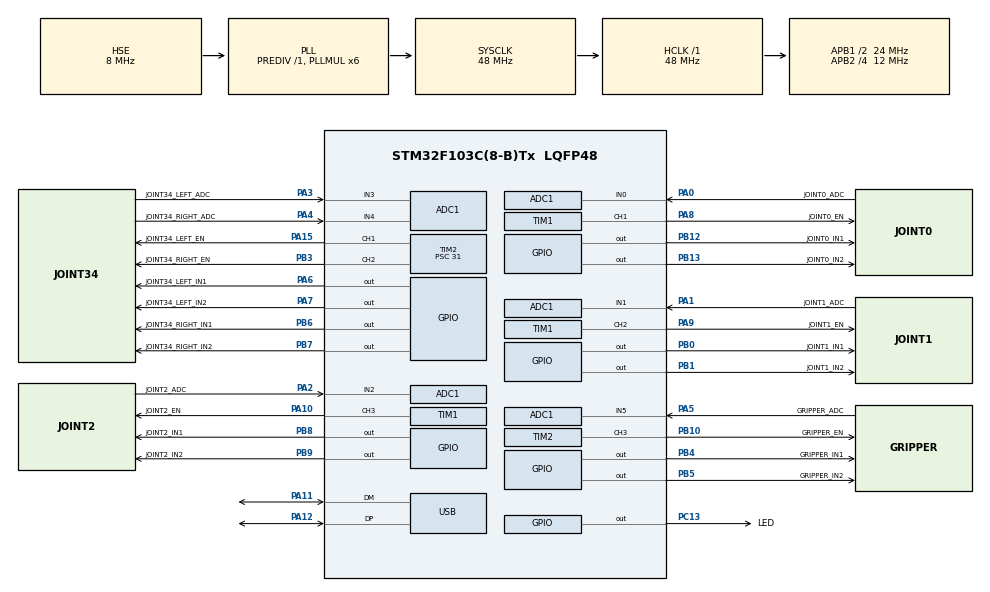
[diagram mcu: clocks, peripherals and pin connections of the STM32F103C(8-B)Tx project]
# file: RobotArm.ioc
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ADC1.Channel-4\#ChannelRegularConversion=ADC_CHANNEL_0
ADC1.Channel-5\#ChannelRegularConversion=ADC_CHANNEL_1
ADC1.Channel-6\#ChannelRegularConversion=ADC_CHANNEL_2
ADC1.Channel-7\#ChannelRegularConversion=ADC_CHANNEL_3
ADC1.Channel-8\#ChannelRegularConversion=ADC_CHANNEL_4
ADC1.Channel-9\#ChannelRegularConversion=ADC_CHANNEL_5
ADC1.ContinuousConvMode=ENABLE
ADC1.DataAlign=ADC_DATAALIGN_RIGHT
ADC1.DiscontinuousConvMode=DISABLE
ADC1.EnableAnalogWatchDog=false
ADC1.EnableRegularConversion=ENABLE
ADC1.ExternalTrigConv=ADC_SOFTWARE_START
ADC1.InjNumberOfConversion=0
ADC1.NbrOfConversion=6
ADC1.NbrOfConversionFlag=1
ADC1.Rank-4\#ChannelRegularConversion=1
ADC1.Rank-5\#ChannelRegularConversion=2
ADC1.Rank-6\#ChannelRegularConversion=3
ADC1.Rank-7\#ChannelRegularConversion=4
ADC1.Rank-8\#ChannelRegularConversion=5
ADC1.Rank-9\#ChannelRegularConversion=6
ADC1.SamplingTime-4\#ChannelRegularConversion=ADC_SAMPLETIME_7CYCLES_5
ADC1.SamplingTime-5\#ChannelRegularConversion=ADC_SAMPLETIME_7CYCLES_5
ADC1.SamplingTime-6\#ChannelRegularConversion=ADC_SAMPLETIME_7CYCLES_5
ADC1.SamplingTime-7\#ChannelRegularConversion=ADC_SAMPLETIME_7CYCLES_5
ADC1.SamplingTime-8\#ChannelRegularConversion=ADC_SAMPLETIME_7CYCLES_5
ADC1.SamplingTime-9\#ChannelRegularConversion=ADC_SAMPLETIME_7CYCLES_5
ADC1.ScanConvMode=ADC_SCAN_ENABLE
ADC1.master=1
Dma.ADC1.0.Direction=DMA_PERIPH_TO_MEMORY
Dma.ADC1.0.Instance=DMA1_Channel1
Dma.ADC1.0.MemDataAlignment=DMA_MDATAALIGN_WORD
Dma.ADC1.0.MemInc=DMA_MINC_ENABLE
Dma.ADC1.0.Mode=DMA_CIRCULAR
Dma.ADC1.0.PeriphDataAlignment=DMA_PDATAALIGN_WORD
Dma.ADC1.0.PeriphInc=DMA_PINC_DISABLE
Dma.ADC1.0.Priority=DMA_PRIORITY_LOW
Dma.Request0=ADC1
IWDG.Prescaler=IWDG_PRESCALER_32
IWDG.Reload=300
Mcu.Family=STM32F1
Mcu.Name=STM32F103C(8-B)Tx
Mcu.Package=LQFP48
NVIC.DMA1_Channel1_IRQn=true\:0\:0\:false\:false\:true
NVIC.PriorityGroup=NVIC_PRIORITYGROUP_4
NVIC.USB_LP_CAN1_RX0_IRQn=true\:0\:0\:false\:false\:true
PA0-WKUP.GPIO_Label=JOINT0_ADC
PA0-WKUP.Signal=SharedAnalog_PA0
PA1.GPIO_Label=JOINT1_ADC
PA1.Signal=ADCx_IN1
PA10.GPIO_Label=JOINT2_EN
PA10.Signal=S_TIM1_CH3
PA11.Mode=Device
PA11.Signal=USB_DM
PA12.Mode=Device
PA12.Signal=USB_DP
PA13.Mode=Serial_Wire
PA13.Signal=SYS_JTMS-SWDIO
PA14.Mode=Serial_Wire
PA14.Signal=SYS_JTCK-SWCLK
PA15.GPIO_Label=JOINT34_LEFT_EN
PA15.Signal=S_TIM2_CH1_ETR
PA2.GPIO_Label=JOINT2_ADC
PA2.Signal=ADCx_IN2
PA3.GPIO_Label=JOINT34_LEFT_ADC
PA3.Signal=ADCx_IN3
PA4.GPIO_Label=JOINT34_RIGHT_ADC
PA4.Signal=ADCx_IN4
PA5.GPIO_Label=GRIPPER_ADC
PA5.Signal=ADCx_IN5
PA6.GPIO_Label=JOINT34_LEFT_IN1
PA6.GPIO_Speed=GPIO_SPEED_FREQ_LOW
PA6.Signal=GPIO_Output
PA7.GPIO_Label=JOINT34_LEFT_IN2
PA7.Signal=GPIO_Output
PA8.GPIO_Label=JOINT0_EN
PA8.Signal=S_TIM1_CH1
PA9.GPIO_Label=JOINT1_EN
PA9.Signal=S_TIM1_CH2
PB0.GPIO_Label=JOINT1_IN1
PB0.Signal=GPIO_Output
PB1.GPIO_Label=JOINT1_IN2
PB1.Signal=GPIO_Output
PB10.GPIO_Label=GRIPPER_EN
PB10.Signal=S_TIM2_CH3
PB12.GPIO_Label=JOINT0_IN1
PB12.Signal=GPIO_Output
PB13.GPIO_Label=JOINT0_IN2
PB13.Signal=GPIO_Output
PB3.GPIO_Label=JOINT34_RIGHT_EN
PB3.Signal=S_TIM2_CH2
PB4.GPIO_Label=GRIPPER_IN1
PB4.Signal=GPIO_Output
PB5.GPIO_Label=GRIPPER_IN2
PB5.Signal=GPIO_Output
PB6.GPIO_Label=JOINT34_RIGHT_IN1
PB6.Signal=GPIO_Output
PB7.GPIO_Label=JOINT34_RIGHT_IN2
PB7.Signal=GPIO_Output
PB8.GPIO_Label=JOINT2_IN1
PB8.Signal=GPIO_Output
PB9.GPIO_Label=JOINT2_IN2
PB9.Signal=GPIO_Output
PC13-TAMPER-RTC.GPIO_Label=LED
PC13-TAMPER-RTC.PinState=GPIO_PIN_SET
PC13-TAMPER-RTC.Signal=GPIO_Output
PD0-OSC_IN.Mode=HSE-External-Oscillator
PD0-OSC_IN.Signal=RCC_OSC_IN
PD1-OSC_OUT.Mode=HSE-External-Oscillator
PD1-OSC_OUT.Signal=RCC_OSC_OUT
ProjectManager.HeapSize=0x200
ProjectManager.StackSize=0x400
ProjectManager.TargetToolchain=SW4STM32
RCC.AHBFreq_Value=48000000
RCC.APB1CLKDivider=RCC_HCLK_DIV2
RCC.APB1Freq_Value=24000000
RCC.APB1TimFreq_Value=48000000
RCC.APB2CLKDivider=RCC_HCLK_DIV4
RCC.APB2Freq_Value=12000000
RCC.APB2TimFreq_Value=24000000
RCC.HCLKFreq_Value=48000000
RCC.PLLMUL=RCC_PLL_MUL6
RCC.SYSCLKFreq_VALUE=48000000
RCC.SYSCLKSource=RCC_SYSCLKSOURCE_PLLCLK
RCC.USBFreq_Value=48000000
SH.ADCx_IN1.0=ADC1_IN1,IN1
SH.ADCx_IN2.0=ADC1_IN2,IN2
SH.ADCx_IN3.0=ADC1_IN3,IN3
SH.ADCx_IN4.0=ADC1_IN4,IN4
SH.ADCx_IN5.0=ADC1_IN5,IN5
SH.S_TIM1_CH1.0=TIM1_CH1,PWM Generation1 CH1
SH.S_TIM1_CH2.0=TIM1_CH2,PWM Generation2 CH2
SH.S_TIM1_CH3.0=TIM1_CH3,PWM Generation3 CH3
SH.S_TIM2_CH1_ETR.0=TIM2_CH1,PWM Generation1 CH1
SH.S_TIM2_CH2.0=TIM2_CH2,PWM Generation2 CH2
SH.S_TIM2_CH3.0=TIM2_CH3,PWM Generation3 CH3
SH.SharedAnalog_PA0.0=GPIO_Analog
SH.SharedAnalog_PA0.1=ADC1_IN0,IN0
TIM1.Channel-PWM\ Generation1\ CH1=TIM_CHANNEL_1
TIM1.Channel-PWM\ Generation2\ CH2=TIM_CHANNEL_2
TIM1.Channel-PWM\ Generation3\ CH3=TIM_CHANNEL_3
TIM1.ClockDivision=TIM_CLOCKDIVISION_DIV2
TIM1.Period=1000
TIM1.Prescaler=31
TIM1.Pulse-PWM\ Generation1\ CH1=0
TIM2.Channel-PWM\ Generation1\ CH1=TIM_CHANNEL_1
TIM2.Channel-PWM\ Generation2\ CH2=TIM_CHANNEL_2
TIM2.Channel-PWM\ Generation3\ CH3=TIM_CHANNEL_3
TIM2.ClockDivision=TIM_CLOCKDIVISION_DIV2
TIM2.Period=1000
TIM2.Prescaler=31
USB_DEVICE.CLASS_NAME_FS=CDC
USB_DEVICE.VirtualMode=Cdc
USB_DEVICE.VirtualModeFS=Cdc_FS
VP_IWDG_VS_IWDG.Mode=IWDG_Activate
VP_TIM1_VS_ClockSourceINT.Mode=Internal
VP_TIM2_VS_ClockSourceINT.Mode=Internal
VP_USB_DEVICE_VS_USB_DEVICE_CDC_FS.Mode=CDC_FS
board=RobotArm

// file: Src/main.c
/**
  ******************************************************************************
  * File Name          : main.c
  * Description        : Main program body
  ******************************************************************************
  * This notice applies to any and all portions of this file
  * that are not between comment pairs USER CODE BEGIN and
  * USER CODE END. Other portions of this file, whether
  * inserted by the user or by software development tools
  * are owned by their respective copyright owners.
  *
  * Copyright (c) 2018 STMicroelectronics International N.V.
  * All rights reserved.
  *
  * Redistribution and use in source and binary forms, with or without
  * modification, are permitted, provided that the following conditions are met:
  *
  * 1. Redistribution of source code must retain the above copyright notice,
  *    this list of conditions and the following disclaimer.
  * 2. Redistributions in binary form must reproduce the above copyright notice,
  *    this list of conditions and the following disclaimer in the documentation
  *    and/or other materials provided with the distribution.
  * 3. Neither the name of STMicroelectronics nor the names of other
  *    contributors to this software may be used to endorse or promote products
  *    derived from this software without specific written permission.
  * 4. This software, including modifications and/or derivative works of this
  *    software, must execute solely and exclusively on microcontroller or
  *    microprocessor devices manufactured by or for STMicroelectronics.
  * 5. Redistribution and use of this software other than as permitted under
  *    this license is void and will automatically terminate your rights under
  *    this license.
  *
  * THIS SOFTWARE IS PROVIDED BY STMICROELECTRONICS AND CONTRIBUTORS "AS IS"
  * AND ANY EXPRESS, IMPLIED OR STATUTORY WARRANTIES, INCLUDING, BUT NOT
  * LIMITED TO, THE IMPLIED WARRANTIES OF MERCHANTABILITY, FITNESS FOR A
  * PARTICULAR PURPOSE AND NON-INFRINGEMENT OF THIRD PARTY INTELLECTUAL PROPERTY
  * RIGHTS ARE DISCLAIMED TO THE FULLEST EXTENT PERMITTED BY LAW. IN NO EVENT
  * SHALL STMICROELECTRONICS OR CONTRIBUTORS BE LIABLE FOR ANY DIRECT, INDIRECT,
  * INCIDENTAL, SPECIAL, EXEMPLARY, OR CONSEQUENTIAL DAMAGES (INCLUDING, BUT NOT
  * LIMITED TO, PROCUREMENT OF SUBSTITUTE GOODS OR SERVICES; LOSS OF USE, DATA,
  * OR PROFITS; OR BUSINESS INTERRUPTION) HOWEVER CAUSED AND ON ANY THEORY OF
  * LIABILITY, WHETHER IN CONTRACT, STRICT LIABILITY, OR TORT (INCLUDING
  * NEGLIGENCE OR OTHERWISE) ARISING IN ANY WAY OUT OF THE USE OF THIS SOFTWARE,
  * EVEN IF ADVISED OF THE POSSIBILITY OF SUCH DAMAGE.
  *
  ******************************************************************************
  */
#include "main.h"
#include "stm32f1xx_hal.h"
#include "usb_device.h"

/* USER CODE BEGIN Includes */
// extern void initialise_monitor_handles(void);

int cpp_main(void);

/* USER CODE END Includes */

ADC_HandleTypeDef hadc1;
DMA_HandleTypeDef hdma_adc1;

IWDG_HandleTypeDef hiwdg;

TIM_HandleTypeDef htim1;
TIM_HandleTypeDef htim2;

/* USER CODE BEGIN PV */
/* Private variables ---------------------------------------------------------*/

/* USER CODE END PV */

void SystemClock_Config(void);
static void MX_GPIO_Init(void);
static void MX_DMA_Init(void);
static void MX_TIM1_Init(void);
static void MX_ADC1_Init(void);
static void MX_TIM2_Init(void);
static void MX_IWDG_Init(void);

void HAL_TIM_MspPostInit(TIM_HandleTypeDef *htim);

/* USER CODE BEGIN PFP */
/* Private function prototypes -----------------------------------------------*/

/* USER CODE END PFP */

/* USER CODE BEGIN 0 */

uint32_t gAdcDMABuffer[ADC_DMA_BUF_SIZE];
volatile float gAdcCurrentValue[ADC_CHANNELS_IN_USE];

void resetWatchdog() {
	// HAL_IWDG_Refresh(&hiwdg);
}

/* USER CODE END 0 */

int main(void)
{

  /* MCU Configuration----------------------------------------------------------*/

  /* Reset of all peripherals, Initializes the Flash interface and the Systick. */
  HAL_Init();

  /* Configure the system clock */
  SystemClock_Config();

  /* Initialize all configured peripherals */
  MX_GPIO_Init();
  MX_DMA_Init();
  MX_USB_DEVICE_Init();
  MX_TIM1_Init();
  MX_ADC1_Init();
  MX_TIM2_Init();
  MX_IWDG_Init();

  /* USER CODE BEGIN 2 */
  initialise_monitor_handles();

  HAL_TIM_Base_Start(&htim1);
  HAL_TIM_PWM_Start(&htim1,TIM_CHANNEL_1);
  HAL_TIM_PWM_Start(&htim1,TIM_CHANNEL_2);
  HAL_TIM_PWM_Start(&htim1,TIM_CHANNEL_3);

  HAL_TIM_Base_Start(&htim2);
  HAL_TIM_PWM_Start(&htim2,TIM_CHANNEL_1);
  HAL_TIM_PWM_Start(&htim2,TIM_CHANNEL_2);
  HAL_TIM_PWM_Start(&htim2,TIM_CHANNEL_3);

  HAL_ADCEx_Calibration_Start(&hadc1);

  HAL_ADC_Start_DMA(&hadc1, gAdcDMABuffer, ADC_DMA_BUF_SIZE);
  HAL_ADC_Start(&hadc1);

  // HAL_IWDG_Start(&hiwdg);

  /* USER CODE END 2 */

  /* Infinite loop */
  /* USER CODE BEGIN WHILE */
  printf("Start\n");

  return cpp_main();
  /* USER CODE END WHILE */

}

/** System Clock Configuration
*/
void SystemClock_Config(void)
{

  RCC_OscInitTypeDef RCC_OscInitStruct;
  RCC_ClkInitTypeDef RCC_ClkInitStruct;
  RCC_PeriphCLKInitTypeDef PeriphClkInit;

    /**Initializes the CPU, AHB and APB busses clocks
    */
  RCC_OscInitStruct.OscillatorType = RCC_OSCILLATORTYPE_LSI|RCC_OSCILLATORTYPE_HSE;
  RCC_OscInitStruct.HSEState = RCC_HSE_ON;
  RCC_OscInitStruct.HSEPredivValue = RCC_HSE_PREDIV_DIV1;
  RCC_OscInitStruct.HSIState = RCC_HSI_ON;
  RCC_OscInitStruct.LSIState = RCC_LSI_ON;
  RCC_OscInitStruct.PLL.PLLState = RCC_PLL_ON;
  RCC_OscInitStruct.PLL.PLLSource = RCC_PLLSOURCE_HSE;
  RCC_OscInitStruct.PLL.PLLMUL = RCC_PLL_MUL6;
  if (HAL_RCC_OscConfig(&RCC_OscInitStruct) != HAL_OK)
  {
    _Error_Handler(__FILE__, __LINE__);
  }

    /**Initializes the CPU, AHB and APB busses clocks
    */
  RCC_ClkInitStruct.ClockType = RCC_CLOCKTYPE_HCLK|RCC_CLOCKTYPE_SYSCLK
                              |RCC_CLOCKTYPE_PCLK1|RCC_CLOCKTYPE_PCLK2;
  RCC_ClkInitStruct.SYSCLKSource = RCC_SYSCLKSOURCE_PLLCLK;
  RCC_ClkInitStruct.AHBCLKDivider = RCC_SYSCLK_DIV1;
  RCC_ClkInitStruct.APB1CLKDivider = RCC_HCLK_DIV2;
  RCC_ClkInitStruct.APB2CLKDivider = RCC_HCLK_DIV4;

  if (HAL_RCC_ClockConfig(&RCC_ClkInitStruct, FLASH_LATENCY_1) != HAL_OK)
  {
    _Error_Handler(__FILE__, __LINE__);
  }

  PeriphClkInit.PeriphClockSelection = RCC_PERIPHCLK_ADC|RCC_PERIPHCLK_USB;
  PeriphClkInit.AdcClockSelection = RCC_ADCPCLK2_DIV2;
  PeriphClkInit.UsbClockSelection = RCC_USBCLKSOURCE_PLL;
  if (HAL_RCCEx_PeriphCLKConfig(&PeriphClkInit) != HAL_OK)
  {
    _Error_Handler(__FILE__, __LINE__);
  }

    /**Configure the Systick interrupt time
    */
  HAL_SYSTICK_Config(HAL_RCC_GetHCLKFreq()/1000);

    /**Configure the Systick
    */
  HAL_SYSTICK_CLKSourceConfig(SYSTICK_CLKSOURCE_HCLK);

  /* SysTick_IRQn interrupt configuration */
  HAL_NVIC_SetPriority(SysTick_IRQn, 0, 0);
}

/* ADC1 init function */
static void MX_ADC1_Init(void)
{

  ADC_ChannelConfTypeDef sConfig;

    /**Common config
    */
  hadc1.Instance = ADC1;
  hadc1.Init.ScanConvMode = ADC_SCAN_ENABLE;
  hadc1.Init.ContinuousConvMode = ENABLE;
  hadc1.Init.DiscontinuousConvMode = DISABLE;
  hadc1.Init.ExternalTrigConv = ADC_SOFTWARE_START;
  hadc1.Init.DataAlign = ADC_DATAALIGN_RIGHT;
  hadc1.Init.NbrOfConversion = 6;
  if (HAL_ADC_Init(&hadc1) != HAL_OK)
  {
    _Error_Handler(__FILE__, __LINE__);
  }

    /**Configure Regular Channel
    */
  sConfig.Channel = ADC_CHANNEL_0;
  sConfig.Rank = 1;
  sConfig.SamplingTime = ADC_SAMPLETIME_7CYCLES_5;
  if (HAL_ADC_ConfigChannel(&hadc1, &sConfig) != HAL_OK)
  {
    _Error_Handler(__FILE__, __LINE__);
  }

    /**Configure Regular Channel
    */
  sConfig.Channel = ADC_CHANNEL_1;
  sConfig.Rank = 2;
  if (HAL_ADC_ConfigChannel(&hadc1, &sConfig) != HAL_OK)
  {
    _Error_Handler(__FILE__, __LINE__);
  }

    /**Configure Regular Channel
    */
  sConfig.Channel = ADC_CHANNEL_2;
  sConfig.Rank = 3;
  if (HAL_ADC_ConfigChannel(&hadc1, &sConfig) != HAL_OK)
  {
    _Error_Handler(__FILE__, __LINE__);
  }

    /**Configure Regular Channel
    */
  sConfig.Channel = ADC_CHANNEL_3;
  sConfig.Rank = 4;
  if (HAL_ADC_ConfigChannel(&hadc1, &sConfig) != HAL_OK)
  {
    _Error_Handler(__FILE__, __LINE__);
  }

    /**Configure Regular Channel
    */
  sConfig.Channel = ADC_CHANNEL_4;
  sConfig.Rank = 5;
  if (HAL_ADC_ConfigChannel(&hadc1, &sConfig) != HAL_OK)
  {
    _Error_Handler(__FILE__, __LINE__);
  }

    /**Configure Regular Channel
    */
  sConfig.Channel = ADC_CHANNEL_5;
  sConfig.Rank = 6;
  if (HAL_ADC_ConfigChannel(&hadc1, &sConfig) != HAL_OK)
  {
    _Error_Handler(__FILE__, __LINE__);
  }

}

/* IWDG init function */
static void MX_IWDG_Init(void)
{

  hiwdg.Instance = IWDG;
  hiwdg.Init.Prescaler = IWDG_PRESCALER_32;
  hiwdg.Init.Reload = 300;
  if (HAL_IWDG_Init(&hiwdg) != HAL_OK)
  {
    _Error_Handler(__FILE__, __LINE__);
  }

}

/* TIM1 init function */
static void MX_TIM1_Init(void)
{

  TIM_ClockConfigTypeDef sClockSourceConfig;
  TIM_MasterConfigTypeDef sMasterConfig;
  TIM_OC_InitTypeDef sConfigOC;
  TIM_BreakDeadTimeConfigTypeDef sBreakDeadTimeConfig;

  htim1.Instance = TIM1;
  htim1.Init.Prescaler = 31;
  htim1.Init.CounterMode = TIM_COUNTERMODE_UP;
  htim1.Init.Period = 1000;
  htim1.Init.ClockDivision = TIM_CLOCKDIVISION_DIV2;
  htim1.Init.RepetitionCounter = 0;
  if (HAL_TIM_Base_Init(&htim1) != HAL_OK)
  {
    _Error_Handler(__FILE__, __LINE__);
  }

  sClockSourceConfig.ClockSource = TIM_CLOCKSOURCE_INTERNAL;
  if (HAL_TIM_ConfigClockSource(&htim1, &sClockSourceConfig) != HAL_OK)
  {
    _Error_Handler(__FILE__, __LINE__);
  }

  if (HAL_TIM_PWM_Init(&htim1) != HAL_OK)
  {
    _Error_Handler(__FILE__, __LINE__);
  }

  sMasterConfig.MasterOutputTrigger = TIM_TRGO_RESET;
  sMasterConfig.MasterSlaveMode = TIM_MASTERSLAVEMODE_DISABLE;
  if (HAL_TIMEx_MasterConfigSynchronization(&htim1, &sMasterConfig) != HAL_OK)
  {
    _Error_Handler(__FILE__, __LINE__);
  }

  sConfigOC.OCMode = TIM_OCMODE_PWM1;
  sConfigOC.Pulse = 0;
  sConfigOC.OCPolarity = TIM_OCPOLARITY_HIGH;
  sConfigOC.OCNPolarity = TIM_OCNPOLARITY_HIGH;
  sConfigOC.OCFastMode = TIM_OCFAST_DISABLE;
  sConfigOC.OCIdleState = TIM_OCIDLESTATE_RESET;
  sConfigOC.OCNIdleState = TIM_OCNIDLESTATE_RESET;
  if (HAL_TIM_PWM_ConfigChannel(&htim1, &sConfigOC, TIM_CHANNEL_1) != HAL_OK)
  {
    _Error_Handler(__FILE__, __LINE__);
  }

  if (HAL_TIM_PWM_ConfigChannel(&htim1, &sConfigOC, TIM_CHANNEL_2) != HAL_OK)
  {
    _Error_Handler(__FILE__, __LINE__);
  }

  if (HAL_TIM_PWM_ConfigChannel(&htim1, &sConfigOC, TIM_CHANNEL_3) != HAL_OK)
  {
    _Error_Handler(__FILE__, __LINE__);
  }

  sBreakDeadTimeConfig.OffStateRunMode = TIM_OSSR_DISABLE;
  sBreakDeadTimeConfig.OffStateIDLEMode = TIM_OSSI_DISABLE;
  sBreakDeadTimeConfig.LockLevel = TIM_LOCKLEVEL_OFF;
  sBreakDeadTimeConfig.DeadTime = 0;
  sBreakDeadTimeConfig.BreakState = TIM_BREAK_DISABLE;
  sBreakDeadTimeConfig.BreakPolarity = TIM_BREAKPOLARITY_HIGH;
  sBreakDeadTimeConfig.AutomaticOutput = TIM_AUTOMATICOUTPUT_DISABLE;
  if (HAL_TIMEx_ConfigBreakDeadTime(&htim1, &sBreakDeadTimeConfig) != HAL_OK)
  {
    _Error_Handler(__FILE__, __LINE__);
  }

  HAL_TIM_MspPostInit(&htim1);

}

/* TIM2 init function */
static void MX_TIM2_Init(void)
{

  TIM_ClockConfigTypeDef sClockSourceConfig;
  TIM_MasterConfigTypeDef sMasterConfig;
  TIM_OC_InitTypeDef sConfigOC;

  htim2.Instance = TIM2;
  htim2.Init.Prescaler = 31;
  htim2.Init.CounterMode = TIM_COUNTERMODE_UP;
  htim2.Init.Period = 1000;
  htim2.Init.ClockDivision = TIM_CLOCKDIVISION_DIV2;
  if (HAL_TIM_Base_Init(&htim2) != HAL_OK)
  {
    _Error_Handler(__FILE__, __LINE__);
  }

  sClockSourceConfig.ClockSource = TIM_CLOCKSOURCE_INTERNAL;
  if (HAL_TIM_ConfigClockSource(&htim2, &sClockSourceConfig) != HAL_OK)
  {
    _Error_Handler(__FILE__, __LINE__);
  }

  if (HAL_TIM_PWM_Init(&htim2) != HAL_OK)
  {
    _Error_Handler(__FILE__, __LINE__);
  }

  sMasterConfig.MasterOutputTrigger = TIM_TRGO_RESET;
  sMasterConfig.MasterSlaveMode = TIM_MASTERSLAVEMODE_DISABLE;
  if (HAL_TIMEx_MasterConfigSynchronization(&htim2, &sMasterConfig) != HAL_OK)
  {
    _Error_Handler(__FILE__, __LINE__);
  }

  sConfigOC.OCMode = TIM_OCMODE_PWM1;
  sConfigOC.Pulse = 0;
  sConfigOC.OCPolarity = TIM_OCPOLARITY_HIGH;
  sConfigOC.OCFastMode = TIM_OCFAST_DISABLE;
  if (HAL_TIM_PWM_ConfigChannel(&htim2, &sConfigOC, TIM_CHANNEL_1) != HAL_OK)
  {
    _Error_Handler(__FILE__, __LINE__);
  }

  if (HAL_TIM_PWM_ConfigChannel(&htim2, &sConfigOC, TIM_CHANNEL_2) != HAL_OK)
  {
    _Error_Handler(__FILE__, __LINE__);
  }

  if (HAL_TIM_PWM_ConfigChannel(&htim2, &sConfigOC, TIM_CHANNEL_3) != HAL_OK)
  {
    _Error_Handler(__FILE__, __LINE__);
  }

  HAL_TIM_MspPostInit(&htim2);

}

static void MX_DMA_Init(void)
{
  /* DMA controller clock enable */
  __HAL_RCC_DMA1_CLK_ENABLE();

  /* DMA interrupt init */
  /* DMA1_Channel1_IRQn interrupt configuration */
  HAL_NVIC_SetPriority(DMA1_Channel1_IRQn, 0, 0);
  HAL_NVIC_EnableIRQ(DMA1_Channel1_IRQn);

}

/** Configure pins as
        * Analog
        * Input
        * Output
        * EVENT_OUT
        * EXTI
     PA0-WKUP   ------> SharedAnalog_PA0
*/
static void MX_GPIO_Init(void)
{

  GPIO_InitTypeDef GPIO_InitStruct;

  /* GPIO Ports Clock Enable */
  __HAL_RCC_GPIOC_CLK_ENABLE();
  __HAL_RCC_GPIOD_CLK_ENABLE();
  __HAL_RCC_GPIOA_CLK_ENABLE();
  __HAL_RCC_GPIOB_CLK_ENABLE();

  /*Configure GPIO pin Output Level */
  HAL_GPIO_WritePin(LED_GPIO_Port, LED_Pin, GPIO_PIN_SET);

  /*Configure GPIO pin Output Level */
  HAL_GPIO_WritePin(GPIOA, JOINT34_LEFT_IN1_Pin|JOINT34_LEFT_IN2_Pin, GPIO_PIN_RESET);

  /*Configure GPIO pin Output Level */
  HAL_GPIO_WritePin(GPIOB, JOINT1_IN1_Pin|JOINT1_IN2_Pin|JOINT0_IN1_Pin|JOINT0_IN2_Pin
                          |GRIPPER_IN1_Pin|GRIPPER_IN2_Pin|JOINT34_RIGHT_IN1_Pin|JOINT34_RIGHT_IN2_Pin
                          |JOINT2_IN1_Pin|JOINT2_IN2_Pin, GPIO_PIN_RESET);

  /*Configure GPIO pin : LED_Pin */
  GPIO_InitStruct.Pin = LED_Pin;
  GPIO_InitStruct.Mode = GPIO_MODE_OUTPUT_PP;
  GPIO_InitStruct.Speed = GPIO_SPEED_FREQ_LOW;
  HAL_GPIO_Init(LED_GPIO_Port, &GPIO_InitStruct);

  /*Configure GPIO pin : JOINT0_ADC_Pin */
  GPIO_InitStruct.Pin = JOINT0_ADC_Pin;
  GPIO_InitStruct.Mode = GPIO_MODE_ANALOG;
  HAL_GPIO_Init(JOINT0_ADC_GPIO_Port, &GPIO_InitStruct);

  /*Configure GPIO pins : JOINT34_LEFT_IN1_Pin JOINT34_LEFT_IN2_Pin */
  GPIO_InitStruct.Pin = JOINT34_LEFT_IN1_Pin|JOINT34_LEFT_IN2_Pin;
  GPIO_InitStruct.Mode = GPIO_MODE_OUTPUT_PP;
  GPIO_InitStruct.Speed = GPIO_SPEED_FREQ_LOW;
  HAL_GPIO_Init(GPIOA, &GPIO_InitStruct);

  /*Configure GPIO pins : JOINT1_IN1_Pin JOINT1_IN2_Pin JOINT0_IN1_Pin JOINT0_IN2_Pin
                           GRIPPER_IN1_Pin GRIPPER_IN2_Pin JOINT34_RIGHT_IN1_Pin JOINT34_RIGHT_IN2_Pin
                           JOINT2_IN1_Pin JOINT2_IN2_Pin */
  GPIO_InitStruct.Pin = JOINT1_IN1_Pin|JOINT1_IN2_Pin|JOINT0_IN1_Pin|JOINT0_IN2_Pin
                          |GRIPPER_IN1_Pin|GRIPPER_IN2_Pin|JOINT34_RIGHT_IN1_Pin|JOINT34_RIGHT_IN2_Pin
                          |JOINT2_IN1_Pin|JOINT2_IN2_Pin;
  GPIO_InitStruct.Mode = GPIO_MODE_OUTPUT_PP;
  GPIO_InitStruct.Speed = GPIO_SPEED_FREQ_LOW;
  HAL_GPIO_Init(GPIOB, &GPIO_InitStruct);

}

void _Error_Handler(char * file, int line)
{
  while(1)
  {
  }
}

/************************ (C) COPYRIGHT STMicroelectronics *****END OF FILE****/
